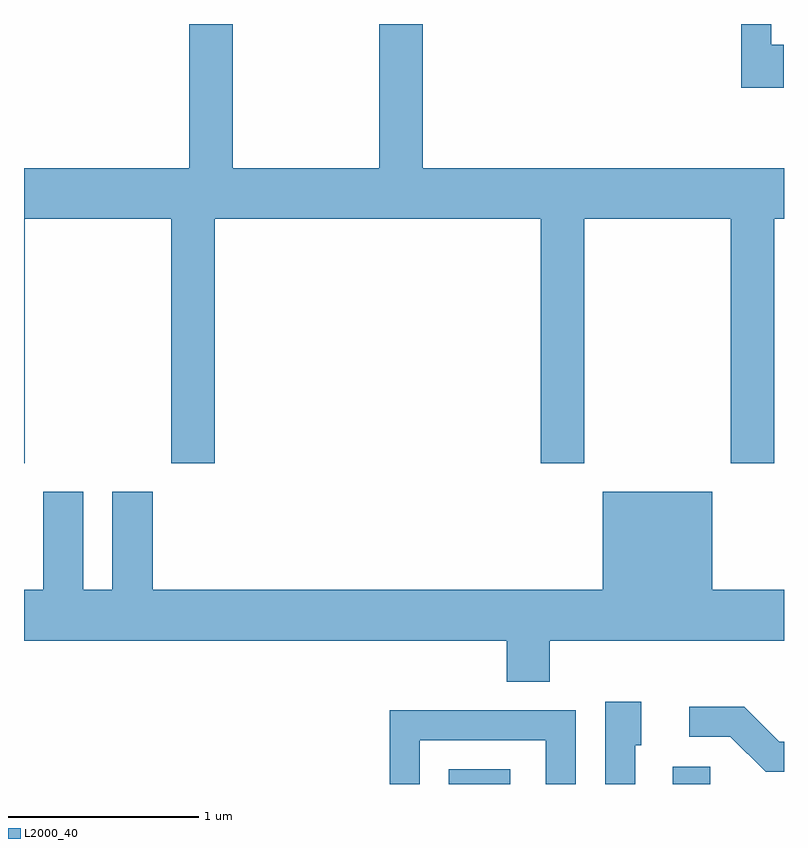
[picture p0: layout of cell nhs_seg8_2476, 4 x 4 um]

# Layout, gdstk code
import gdstk
lib = gdstk.Library(unit=1e-6, precision=1e-09)
def R(c, l, rs):  # rectangles x0, y0, x1, y1
    for r in rs: c.add(gdstk.rectangle(r[:2], r[2:], *l))
def P(c, l, *ps):  # polygons
    for p in ps: c.add(gdstk.Polygon(p, *l))
L2000_40 = (2000, 40)

nhs_seg8_2476 = lib.new_cell('nhs_seg8_2476')
R(nhs_seg8_2476, L2000_40, [(261.846,1822.342,262.169,1822.419), (263.026,1822.342,263.224,1822.434)])
P(nhs_seg8_2476, L2000_40, [(259.614,1825.316),(260.386,1825.316),(260.386,1824.031),(260.614,1824.031),(260.614,1825.316),(262.331,1825.316),(262.331,1824.031),(262.559,1824.031),(262.559,1825.316),(263.331,1825.316),(263.331,1824.031),(263.559,1824.031),(263.559,1825.316),(263.611,1825.316),(263.611,1825.584),(261.709,1825.584),(261.709,1826.342),(261.481,1826.342),(261.481,1825.584),(260.709,1825.584),(260.709,1826.342),(260.481,1826.342),(260.481,1825.584),(259.611,1825.584),(259.611,1824.031),(259.614,1824.031)],
  [(263.609,1826.234),(263.544,1826.234),(263.544,1826.342),(263.386,1826.342),(263.386,1826.006),(263.609,1826.006)],
  [(262.379,1823.096),(263.611,1823.096),(263.611,1823.364),(263.234,1823.364),(263.234,1823.879),(262.656,1823.879),(262.656,1823.364),(260.289,1823.364),(260.289,1823.879),(260.076,1823.879),(260.076,1823.364),(259.924,1823.364),(259.924,1823.879),(259.711,1823.879),(259.711,1823.364),(259.611,1823.364),(259.611,1823.096),(262.151,1823.096),(262.151,1822.881),(262.379,1822.881)],
  [(262.829,1822.546),(262.859,1822.546),(262.859,1822.774),(262.671,1822.774),(262.671,1822.342),(262.829,1822.342)],
  [(263.611,1822.564),(263.587,1822.564),(263.402,1822.749),(263.113,1822.749),(263.113,1822.591),(263.329,1822.591),(263.514,1822.406),(263.611,1822.406)],
  [(261.694,1822.571),(262.356,1822.571),(262.356,1822.342),(262.514,1822.342),(262.514,1822.729),(261.536,1822.729),(261.536,1822.342),(261.694,1822.342)])

lib.write_gds('nhs_seg8_2476.gds')
